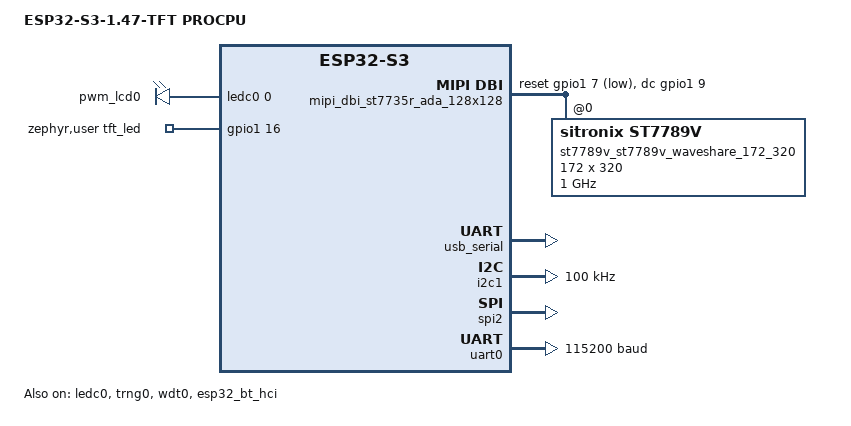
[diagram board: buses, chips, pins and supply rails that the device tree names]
/*
* Copyright (c) 2024 Joel Guittet
* SPDX-License-Identifier: Apache-2.0
*/

/dts-v1/;
#include <espressif/esp32s3/esp32s3_wroom_n16r8.dtsi>
#include "esp32s3_1_47_tft-pinctrl.dtsi"
#include <zephyr/dt-bindings/display/panel.h>
#include <zephyr/dt-bindings/input/input-event-codes.h>
#include <zephyr/dt-bindings/pwm/pwm.h>
#include <espressif/partitions_0x0_amp_16M.dtsi>

/ {
	model = "ESP32-S3-1.47-TFT PROCPU";
	compatible = "waveshare,esp32-s3-1.47-tft";
	
	chosen {
		zephyr,sram = &sram1;
		zephyr,console = &usb_serial;
		zephyr,shell-uart = &usb_serial;
		zephyr,flash = &flash0;
		zephyr,code-partition = &slot0_partition;
		zephyr,display = &st7789v_st7789v_waveshare_172_320;
		zephyr,bt-hci = &esp32_bt_hci;
	};
	
	aliases {
		i2c-1 = &i2c1;
		pwm-0 = &ledc0;
		pwm-lcd0 = &pwm_lcd0;
		uart-0 = &uart0;
		watchdog0 = &wdt0;
	};
	
	/* PWM */
	pwmleds {
		compatible = "pwm-leds";
		pwm_lcd0: pwm_lcd0 {
			pwms = <&ledc0 0 PWM_HZ(250) PWM_POLARITY_NORMAL>;
		};
	};
	
	zephyr,user {
		tft_led-gpios = <&gpio1 16 GPIO_ACTIVE_HIGH>;
	};
	
	/* MIPI DBI */
	mipi_dbi_st7735r_ada_128x128 {
		compatible = "zephyr,mipi-dbi-spi";
		spi-dev = <&spi2>;
		dc-gpios = <&gpio1 9 GPIO_ACTIVE_HIGH>;	    /* D41 */
		reset-gpios = <&gpio1 7 GPIO_ACTIVE_LOW>;	/* D39 */
		#address-cells = <1>;
		#size-cells = <0>;
		
		st7789v_st7789v_waveshare_172_320: st7789v@0 {
			compatible = "sitronix,st7789v";
			mipi-max-frequency = <1000000000>;
			reg = <0>;
			width = <172>;
			height = <320>;
			x-offset = <34>;
			y-offset = <0>;
			vcom = <0x19>;
			gctrl = <0x35>;
			vrhs = <0x12>;
			vdvs = <0x20>;
			mdac = <0x00>;
			gamma = <0x01>;
			colmod = <0x05>;
			lcm = <0x2c>;
			porch-param = [0c 0c 00 33 33];
			cmd2en-param = [5a 69 02 01];
			pwctrl1-param = [a4 a1];
			pvgam-param = [D0 04 0D 11 13 2B 3F 54 4C 18 0D 0B 1F 23];
			nvgam-param = [D0 04 0C 11 13 2C 3F 44 51 2F 1F 1F 20 23];
			ram-param = [00 F0];
			rgb-param = [CD 08 14];
			mipi-mode = "MIPI_DBI_MODE_SPI_4WIRE";
		};
	};
};

/* 16MB flash */
&flash0 {
	reg = <0x0 DT_SIZE_M(16)>;
};

/* 8MB psram */
&psram0 {
	size = <DT_SIZE_M(8)>;
};

&usb_serial {
	status = "okay";
};

&gpio0 {
	status = "okay";
};

&gpio1 {
	status = "okay";
};

&i2c1 {
	status = "okay";
	clock-frequency = <I2C_BITRATE_STANDARD>;
	pinctrl-0 = <&i2c1_default>;
	pinctrl-names = "default";
	
};

&ledc0 {
	status = "okay";
	pinctrl-0 = <&ledc0_default>;
	pinctrl-names = "default";
	#address-cells = <1>;
	#size-cells = <0>;
	// channel0@0 {
	// 	reg = <0x0>;
	// 	timer = <0>;
	// };
	// channel1@1 {
	// 	reg = <0x1>;
	// 	timer = <1>;
	// };
	// channel2@2 {
	// 	reg = <0x2>;
	// 	timer = <2>;
	// };
};

&spi2 {
	status = "okay";
	#address-cells = <1>;
	#size-cells = <0>;
	pinctrl-0 = <&spim2_default>;
	pinctrl-names = "default";
};

&trng0 {
	status = "okay";
};

&uart0 {
	status = "okay";
	current-speed = <115200>;
	pinctrl-0 = <&uart0_default>;
	pinctrl-names = "default";
};

&wdt0 {
	status = "okay";
};

&esp32_bt_hci {
	status = "okay";
};
